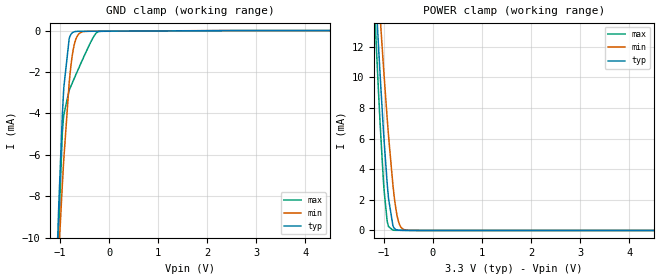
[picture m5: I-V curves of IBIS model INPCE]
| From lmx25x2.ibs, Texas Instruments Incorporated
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|   Model INPCE
[Model]   INPCE
Model_type   Input
Vinl = .4
Vinh = 1.4
|   typ   min   max
|   (nom PVT)   (slow PVT)   (fast PVT)
C_comp   0.097p   0.055p   0.172p
[Voltage Range]   3.3   3   3.6
[Temperature Range]   27   125   -40
[Power Clamp Reference]   3.3   3   3.6
[GND Clamp Reference]   0   0   0
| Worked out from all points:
|   GND clamp passes 1 mA (typ) near -0.84 V on its own axis
|   POWER clamp passes 1 mA (typ) near -0.85 V on its own axis
[GND Clamp]
|   Voltage   I(typ)   I(min)   I(max)
-3.3V     -246.7mA   -151.3mA   -472.6mA
-1.063V   -11.02mA   -12.49mA   -13.41mA
-1.043V   -9.555mA   -11.52mA   -11.18mA
-1.033V   -8.852mA   -11.04mA   -10.17mA
-1.023V   -8.169mA   -10.56mA   -9.241mA
-953.7mV  -4.065mA   -7.42mA    -4.906mA
-924mV    -2.747mA   -6.19mA    -4.056mA
-815.1mV  -386.5uA   -2.533mA   -2.884mA
-726mV    -67.58uA   -843.8uA   -2.387mA
-597.3mV  -35.97uA   -118.2uA   -1.691mA
-201.3mV  -31.01uA   -27.72uA   -42.5uA
6.6V      0A         0A         0A
[POWER Clamp]
|   Voltage   I(typ)   I(min)   I(max)
-3.3V     164.1mA    142.7mA    184.6mA
-1.27V    21.97mA    24.03mA    20.37mA
-1.162V   15.19mA    18.31mA    12.59mA
-1.112V   12.24mA    15.79mA    9.272mA
-1.073V   9.975mA    13.82mA    6.781mA
-993.3mV  5.796mA    10.04mA    2.561mA
-924mV    2.777mA    6.991mA    484.6uA
-815.1mV  309.7uA    2.977mA    19.73uA
-755.7mV  63.05uA    1.441mA    11.38uA
-696.3mV  17.92uA    532.6uA    9.321uA
-537.9mV  6.163uA    23.15uA    5.233uA
6.6V      0A         0A         0A
